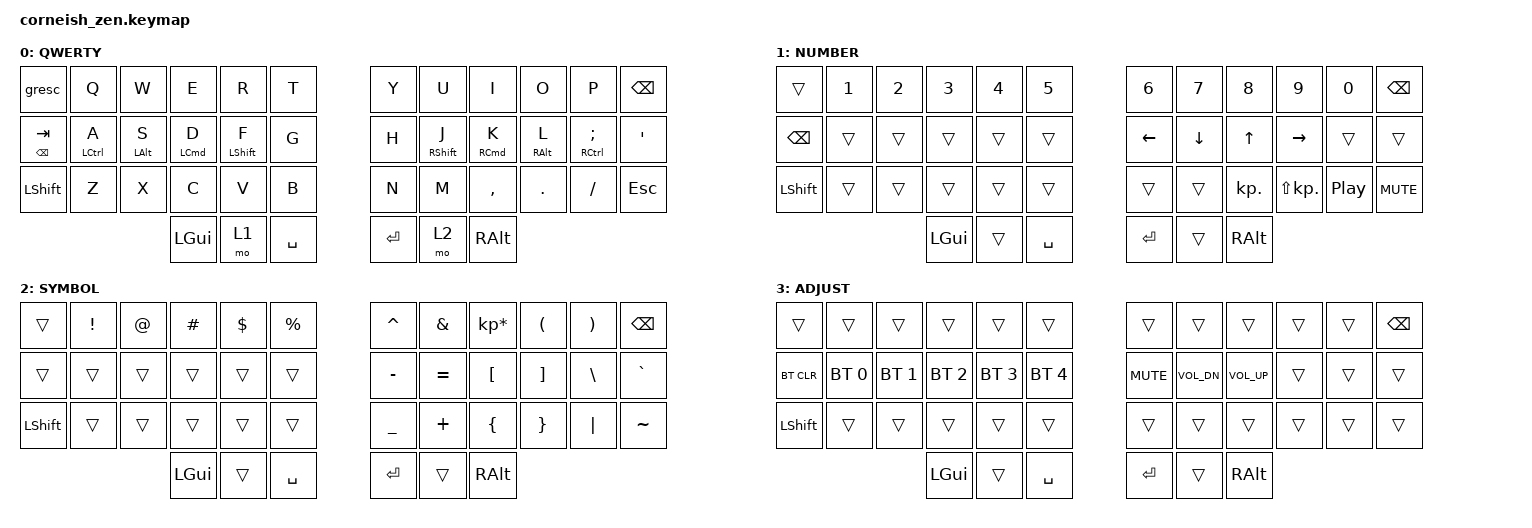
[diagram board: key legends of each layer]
/*
*
* Copyright (c) 2021 Darryl deHaan
* SPDX-License-Identifier: MIT
*
*/

#include <behaviors.dtsi>
#include <dt-bindings/zmk/keys.h>
#include <dt-bindings/zmk/bt.h>


/ {
  chosen {
    zmk,matrix_transform = &default_transform;
    //zmk,matrix_transform = &five_column_transform;
  };
};

/* Key index
 0  1  2  3  4  5    6  7  8  9 10 11
12 13 14 15 16 17   18 19 20 21 22 23
24 25 26 27 28 29   30 31 32 33 34 35
         36 37 38   39 40 41     */


#define TAPPING_TERM 100 
#define QUICK_TAP 0

#define _DEFAULT 0
#define _NUMBER 1
#define _SYMBOL 2
#define _ADJUST 3

/ {
        behaviors {
                hm: homerow_mods {
                        compatible = "zmk,behavior-hold-tap";
                        label = "HOMEROW_MODS";
                        #binding-cells = <2>;
                        tapping-term-ms = <TAPPING_TERM>;
                        quick-tap-ms = <QUICK_TAP>;
                        flavor = "tap-preferred";
                        bindings = <&kp>, <&kp>;
                };
                bhm: balanced_homerow_mods {
                        compatible = "zmk,behavior-hold-tap";
                        label = "HOMEROW_MODS";
                        #binding-cells = <2>;
                        tapping-term-ms = <TAPPING_TERM>;
                        quick-tap-ms = <QUICK_TAP>;
                        global-quick-tap;
                        flavor = "balanced";
                        bindings = <&kp>, <&kp>;
                };
                qt: quick_tap {
                        compatible = "zmk,behavior-hold-tap";
                        label = "QUICK_TAP";
                        #binding-cells = <2>;
                        flavor = "tap-preferred";
                        tapping-term-ms = <TAPPING_TERM>;
                        quick-tap-ms = <QUICK_TAP>;
                        bindings = <&kp>, <&kp>;
                };
                ptr: positional_hold_tap_right {
                        compatible = "zmk,behavior-hold-tap";
                        label = "POSITIONAL_HOLD_TAP_RIGHT";
                        #binding-cells = <2>;
                        flavor = "balanced";
                        tapping-term-ms = <250>;
                        global-quick-tap;
                        quick-tap-ms = <150>;
                        bindings = <&kp>, <&kp>;
                        hold-trigger-key-positions = <1 2 3 4 5 13 14 15 16 17 25 26 27 28 29>;
                };
        };

        combos {
	        compatible = "zmk,combos";

                combo_adjust {
                        timeout-ms = <50>;
                        key-positions = <36 37>;
                        bindings = <&mo _ADJUST>;
                };
    };

        keymap {
                compatible = "zmk,keymap";

                default_layer {
                        label = "QWERTY";
                        bindings = <
   &gresc       &kp Q        &kp W       &kp E        &kp R        &kp T         &kp Y   &kp U        &kp I       &kp O       &kp P           &kp BSPC
   &qt BSPC TAB &bhm LCTRL A &bhm LALT S &bhm LCMD D  &bhm LSHFT F &kp G         &kp H   &ptr RSHFT J &ptr RCMD K &ptr RALT L &ptr RCTRL SEMI &kp SQT
   &kp LSHFT    &kp Z        &kp X       &kp C        &kp V        &kp B         &kp N   &kp M        &kp COMMA   &kp DOT     &kp FSLH        &kp ESC
                                         &kp LGUI     &mo 1        &kp SPACE     &kp RET &mo 2        &kp RALT
                        >;
                };

                lower_layer {
                        label = "NUMBER";
                        bindings = <
   &trans     &kp N1 &kp N2 &kp N3 &kp N4 &kp N5         &kp N6   &kp N7   &kp N8     &kp N9         &kp N0   &kp BSPC
   &kp BSPC   &trans &trans &trans &trans &trans         &kp LEFT &kp DOWN &kp UP     &kp RIGHT      &trans   &trans
   &kp LSHFT  &trans &trans &trans &trans &trans         &trans   &trans   &kp KP_DOT &kp LS(KP_DOT) &kp C_PP &kp C_MUTE
                        &kp LGUI &trans &kp SPACE        &kp RET  &trans   &kp RALT
                        >;
                };

                raise_layer {
                        label = "SYMBOL";
                        bindings = <
   &trans    &kp EXCL &kp AT &kp HASH &kp DLLR &kp PRCNT   &kp CARET &kp AMPS  &kp KP_MULTIPLY &kp LPAR &kp RPAR &kp BSPC
   &trans    &trans   &trans &trans   &trans   &trans      &kp MINUS &kp EQUAL &kp LBKT        &kp RBKT &kp BSLH &kp GRAVE
   &kp LSHFT &trans   &trans &trans   &trans   &trans      &kp UNDER &kp PLUS  &kp LBRC        &kp RBRC &kp PIPE &kp TILDE
                    	     &kp LGUI &trans   &kp SPACE   &kp RET   &trans    &kp RALT
                        >;
                };

                adjust_layer {
                        label = "ADJUST";
                        bindings = <
   &trans     &trans       &trans       &trans       &trans       &trans           &trans     &trans       &trans       &trans &trans &kp BSPC
   &bt BT_CLR &bt BT_SEL 0 &bt BT_SEL 1 &bt BT_SEL 2 &bt BT_SEL 3 &bt BT_SEL 4     &kp C_MUTE &kp C_VOL_DN &kp C_VOL_UP &trans &trans &trans
   &kp LSHFT  &trans       &trans       &trans       &trans       &trans           &trans     &trans       &trans       &trans &trans &trans
                          	        &kp LGUI     &trans       &kp SPACE        &kp RET  &trans   &kp RALT
                        >;
                };
        };
};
